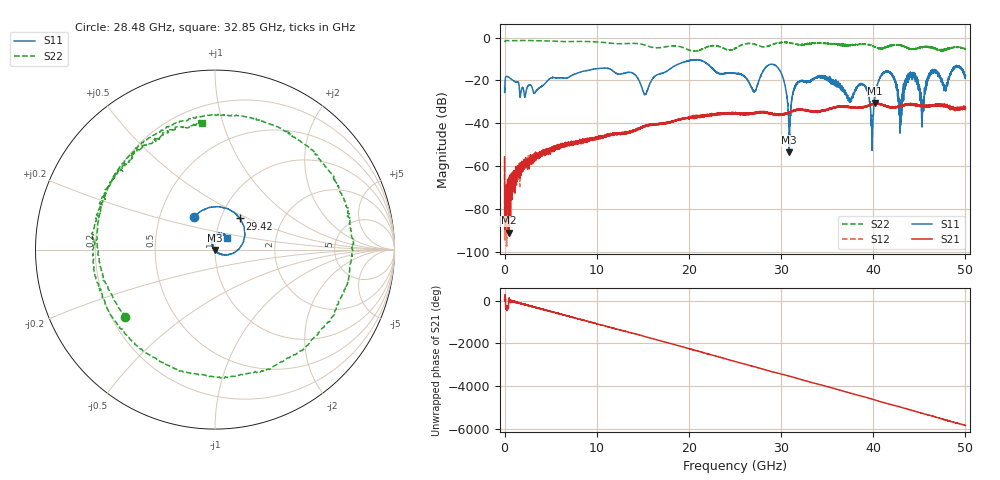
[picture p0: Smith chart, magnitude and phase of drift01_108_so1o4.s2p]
!Created with skrf (http://scikit-rf.org).
# Hz S RI R 50.0
!freq ReS11 ImS11 ReS21 ImS21 ReS12 ImS12 ReS22 ImS22
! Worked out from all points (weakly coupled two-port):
!   10001 points, 300 kHz to 50 GHz, reference 50 ohm
!   highest |S21| = -30.46 dB at 40.21 GHz (marker M1); lowest = -91.0 dB at 470.3 MHz (marker M2)
!   lowest |S11| = -53.5 dB at 30.89 GHz (marker M3), VSWR 1.00, Z = 50 - j0.208 ohm
!   |S11| at or under -10 dB: start of sweep to end of sweep
!   |S22| runs from -6.4 to -1.4 dB; largest |S21 - S12| = 0.004
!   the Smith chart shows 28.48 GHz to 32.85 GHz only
!   S11 on the Smith chart (normalised r, x): 28.48 GHz: 0.75, +0.29; 29.42 GHz: 1.23, +0.45; 32.85 GHz: 1.13, +0.15
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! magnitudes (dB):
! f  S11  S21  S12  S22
! 300 kHz  -23.6  -55.6  -56.1  -2.1
! 470.3 MHz  -18.6  -91.0  -73.1  -1.4
! 8.335 GHz  -15.9  -48.7  -48.4  -1.8
! 15.24 GHz  -26.5  -41.1  -41.1  -3.5
! 16.67 GHz  -17.1  -40.4  -40.2  -4.8
! 25 GHz  -16.6  -35.2  -35.5  -5.1
! 27.1 GHz  -25.2  -34.9  -35.2  -3.1
! 28.48 GHz  -13.3  -35.0  -35.3  -4.1
! 29.42 GHz  -13.1  -35.8  -35.9  -2.7
! 30.89 GHz  -53.5  -34.8  -34.8  -2.5
! 31.61 GHz  -21.9  -33.7  -33.8  -3.0
! 32.85 GHz  -20.5  -34.2  -34.0  -3.0
! 33.34 GHz  -19.7  -34.2  -34.4  -2.7
! 38.92 GHz  -22.2  -32.4  -32.6  -3.0
! 39.85 GHz  -43.5  -31.2  -31.1  -3.7
! 40.21 GHz  -26.9  -30.5  -30.9  -4.5
! 41.67 GHz  -15.9  -32.0  -32.3  -4.3
! 42.93 GHz  -38.8  -31.9  -32.0  -3.7
! 44.07 GHz  -18.4  -31.1  -31.0  -5.3
! 45.31 GHz  -37.9  -31.7  -32.0  -4.4
! 46.42 GHz  -15.7  -31.9  -32.0  -4.7
! 50 GHz  -17.8  -33.0  -32.7  -5.4
